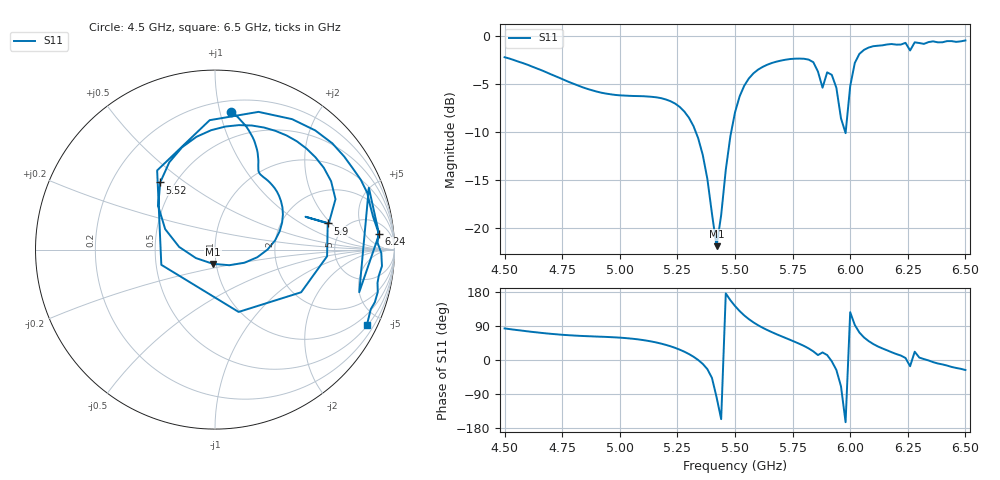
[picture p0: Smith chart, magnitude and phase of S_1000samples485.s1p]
! TOUCHSTONE file generated by CST MICROWAVE STUDIO
! Date and time: Fri Oct 28 08:03:39 2022
! Project name: L.cst
! Parameters = {Di=1.27; Epsilon_r=1.56; InnerDiameter=1.27; Length=2; Lf=10; Lg=60; OuterConductorThickness=0.2921; OuterDiameter=3.6; Wf=3; Wp=41.2; de=1.5; df=6.8; g=0.8; gx=1.51307; gy=4.10455; h=2.34; hf=1.524; px=13.8676; py=12.0496; w=9.7; wx=12.3546; wy=7.94501}
! Header version: 2018
! Port assignment regex: !\s*Touchstone port\s*([0-9]+)\s*=\s*(CST MWS port|CST DS port)\s*([0-9]+|Zmin|Zmax)\s*\(\"(.*)\"\)(\s*mode\s*([0-9]+))?.*
! Touchstone port assignment:
! Touchstone port 1 = CST MWS port 1 ("")
# GHz S DB R 50
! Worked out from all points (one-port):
!   101 points, 4.5 GHz to 6.5 GHz, reference 50 ohm
!   lowest |S11| = -21.9 dB at 5.42 GHz (marker M1), VSWR 1.17, Z = 48.3 - j7.71 ohm
!   |S11| at or under -10 dB: 5.329 GHz to 5.484 GHz (154.4 MHz wide, 2.86 % of centre); 5.978071 GHz to 5.980609 GHz (2.538 MHz wide, 0.0425 % of centre)
!   S11 on the Smith chart (normalised r, x): 4.5 GHz: 0.28, +1.08; 5.52 GHz: 0.42, +0.41; 5.9 GHz: 3.66, +1.82; 6.24 GHz: 11, +12; 6.5 GHz: 0.54, -4.20
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4.5  -2.24 83.3
4.76  -4.62 66.1
5  -6.21 59.0
5.26  -7.42 27.3
5.36  -12.41 -10.2
5.42  -21.92 -98.1
5.5  -7.99 142.5
5.52  -6.32 129.2
5.56  -4.45 107.8
5.62  -3.25 85.1
5.76  -2.39 47.9
5.86  -3.73 13.0
5.88  -5.41 20.0
5.9  -3.81 13.1
5.92  -4.07 -3.4
5.94  -5.42 -26.3
5.96  -8.60 -69.2
5.98  -10.15 -164.2
6  -5.25 126.2
6.02  -2.83 92.4
6.04  -1.89 72.5
6.08  -1.23 49.9
6.14  -1.00 30.5
6.24  -0.74 5.3
6.26  -1.54 -16.4
6.28  -0.69 21.9
6.3  -0.76 6.4
6.5  -0.49 -26.4
